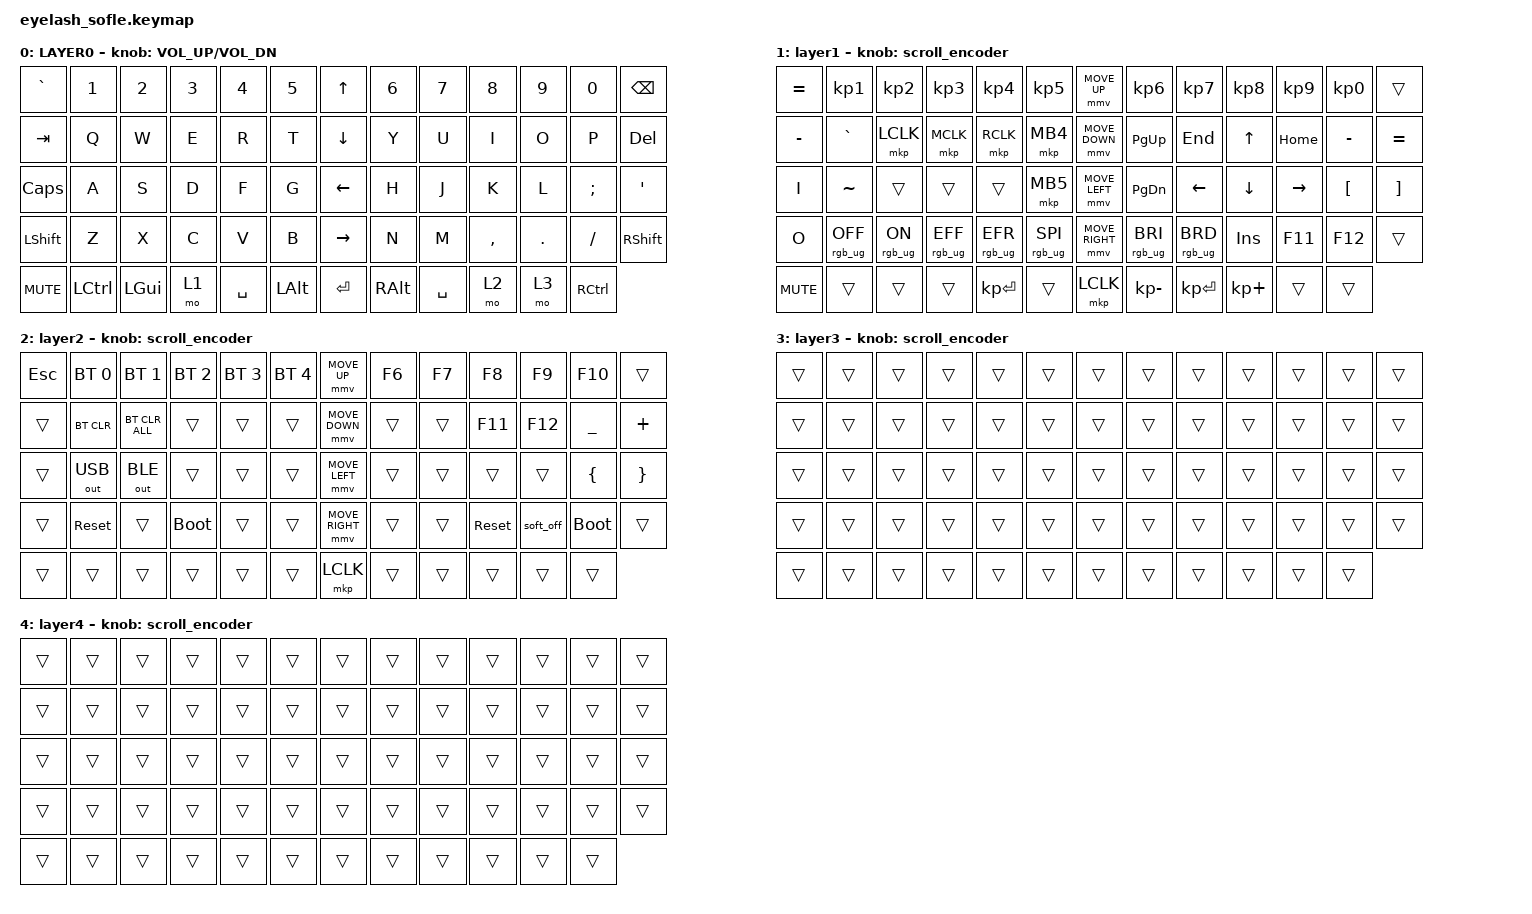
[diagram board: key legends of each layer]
#define ZMK_POINTING_DEFAULT_MOVE_VAL 1200  // 600
#define ZMK_POINTING_DEFAULT_SCRL_VAL 25   // 10

#include <input/processors.dtsi>
#include <zephyr/dt-bindings/input/input-event-codes.h>
#include <behaviors.dtsi>
#include <dt-bindings/zmk/bt.h>
#include <dt-bindings/zmk/keys.h>
#include <dt-bindings/zmk/outputs.h>
#include <dt-bindings/zmk/pointing.h>
#include <dt-bindings/zmk/rgb.h>

&mmv_input_listener { input-processors = <&zip_xy_scaler 2 1>; };

&msc_input_listener { input-processors = <&zip_scroll_scaler 2 1>; };

&msc {
    acceleration-exponent = <1>;      // 0
    time-to-max-speed-ms = <100>;       // 300
    delay-ms = <0>;                   // 0
};

&mmv {
    time-to-max-speed-ms = <500>;
    acceleration-exponent = <1>;
    trigger-period-ms = <16>;
};

&soft_off { hold-time-ms = <2000>; };

/ {
    scroll_encoder: scroll_encoder {
        compatible = "zmk,behavior-sensor-rotate";
        #sensor-binding-cells = <0>;
        bindings = <&msc SCRL_DOWN>, <&msc SCRL_UP>;

        tap-ms = <100>;
    };

    behaviors {
    };

    combos {
        compatible = "zmk,combos";

        softoff {
            bindings = <&soft_off>;
            key-positions = <14 28 40>;
        };
    };

    keymap {
        compatible = "zmk,keymap";

        layer0 {
            bindings = <
&kp GRAVE   &kp N1     &kp N2        &kp N3  &kp N4     &kp N5          &kp UP_ARROW     &kp N6         &kp N7     &kp N8     &kp N9   &kp N0             &kp BACKSPACE
&kp TAB     &kp Q      &kp W         &kp E   &kp R      &kp T           &kp DOWN_ARROW   &kp Y          &kp U      &kp I      &kp O    &kp P              &kp DELETE
&kp CAPS    &kp A      &kp S         &kp D   &kp F      &kp G           &kp LEFT_ARROW   &kp H          &kp J      &kp K      &kp L    &kp SEMI           &kp APOS
&kp LSHFT   &kp Z      &kp X         &kp C   &kp V      &kp B           &kp RIGHT_ARROW  &kp N          &kp M      &kp COMMA  &kp DOT  &kp FSLH           &kp RIGHT_SHIFT
&kp C_MUTE  &kp LCTRL  &kp LEFT_GUI  &mo 1   &kp SPACE  &kp LEFT_ALT    &kp ENTER        &kp RIGHT_ALT  &kp SPACE  &mo 2      &mo 3    &kp RIGHT_CONTROL
            >;

            sensor-bindings = <&inc_dec_kp C_VOLUME_UP C_VOL_DN>;
            display-name = "LAYER0";
        };

        layer_1 {
            bindings = <
&kp EQUAL   &kp KP_NUMBER_1  &kp KP_NUMBER_2  &kp KP_NUMBER_3  &kp KP_NUMBER_4  &kp KP_NUMBER_5    &mmv MOVE_UP     &kp KP_NUMBER_6  &kp KP_NUMBER_7  &kp KP_NUMBER_8  &kp KP_NUMBER_9  &kp KP_NUMBER_0   &trans
&kp MINUS   &kp GRAVE        &mkp LCLK        &mkp MCLK        &mkp RCLK        &mkp MB4           &mmv MOVE_DOWN   &kp PG_UP        &kp END          &kp UP           &kp HOME         &kp MINUS         &kp EQUAL
&kp I       &kp TILDE        &trans           &trans           &trans           &mkp MB5           &mmv MOVE_LEFT   &kp PG_DN        &kp LEFT         &kp DOWN         &kp RIGHT        &kp LEFT_BRACKET  &kp RIGHT_BRACKET
&kp O       &rgb_ug RGB_OFF  &rgb_ug RGB_ON   &rgb_ug RGB_EFF  &rgb_ug RGB_EFR  &rgb_ug RGB_SPI    &mmv MOVE_RIGHT  &rgb_ug RGB_BRI  &rgb_ug RGB_BRD  &kp INSERT       &kp F11          &kp F12           &trans
&kp C_MUTE  &trans           &trans           &trans           &kp KP_ENTER     &trans             &mkp LCLK        &kp KP_MINUS     &kp KP_ENTER     &kp KP_PLUS      &trans           &trans
            >;

            display-name = "layer1";
            sensor-bindings = <&scroll_encoder>;
        };

        layer_2 {
            bindings = <
&kp ESCAPE  &bt BT_SEL 0  &bt BT_SEL 1    &bt BT_SEL 2  &bt BT_SEL 3  &bt BT_SEL 4    &mmv MOVE_UP     &kp F6  &kp F7  &kp F8      &kp F9     &kp F10      &trans
&trans      &bt BT_CLR    &bt BT_CLR_ALL  &trans        &trans        &trans          &mmv MOVE_DOWN   &trans  &trans  &kp F11     &kp F12    &kp UNDER    &kp PLUS
&trans      &out OUT_USB  &out OUT_BLE    &trans        &trans        &trans          &mmv MOVE_LEFT   &trans  &trans  &trans      &trans     &kp LBRC     &kp RBRC
&trans      &sys_reset    &trans          &bootloader   &trans        &trans          &mmv MOVE_RIGHT  &trans  &trans  &sys_reset  &soft_off  &bootloader  &trans
&trans      &trans        &trans          &trans        &trans        &trans          &mkp LCLK        &trans  &trans  &trans      &trans     &trans
            >;

            display-name = "layer2";
            sensor-bindings = <&scroll_encoder>;
        };

        layer_3 {
            bindings = <
&trans  &trans  &trans  &trans  &trans  &trans    &trans  &trans  &trans  &trans  &trans  &trans  &trans
&trans  &trans  &trans  &trans  &trans  &trans    &trans  &trans  &trans  &trans  &trans  &trans  &trans
&trans  &trans  &trans  &trans  &trans  &trans    &trans  &trans  &trans  &trans  &trans  &trans  &trans
&trans  &trans  &trans  &trans  &trans  &trans    &trans  &trans  &trans  &trans  &trans  &trans  &trans
&trans  &trans  &trans  &trans  &trans  &trans    &trans  &trans  &trans  &trans  &trans  &trans
            >;

            display-name = "layer3";
            sensor-bindings = <&scroll_encoder>;
        };

        layer_4 {
            bindings = <
&trans  &trans  &trans  &trans  &trans  &trans    &trans  &trans  &trans  &trans  &trans  &trans  &trans
&trans  &trans  &trans  &trans  &trans  &trans    &trans  &trans  &trans  &trans  &trans  &trans  &trans
&trans  &trans  &trans  &trans  &trans  &trans    &trans  &trans  &trans  &trans  &trans  &trans  &trans
&trans  &trans  &trans  &trans  &trans  &trans    &trans  &trans  &trans  &trans  &trans  &trans  &trans
&trans  &trans  &trans  &trans  &trans  &trans    &trans  &trans  &trans  &trans  &trans  &trans
            >;

            display-name = "layer4";
            sensor-bindings = <&scroll_encoder>;
        };
    };
};
